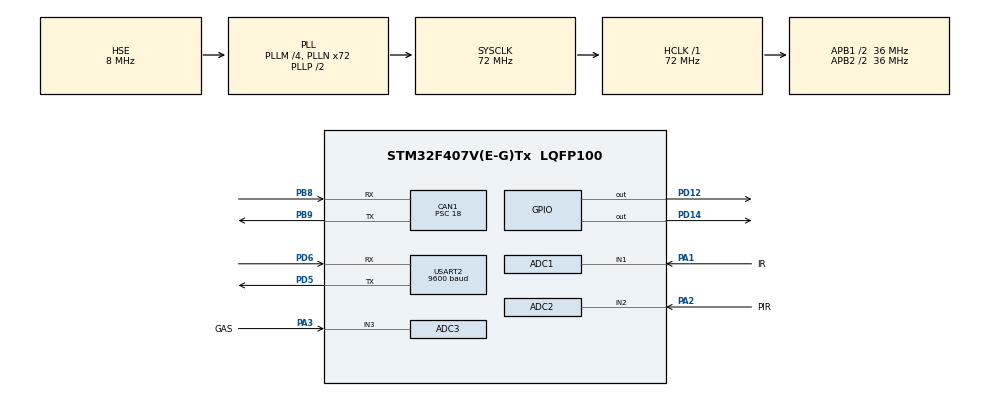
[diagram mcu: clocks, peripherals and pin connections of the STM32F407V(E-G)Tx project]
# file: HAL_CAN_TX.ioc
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ADC1.Channel-0\#ChannelRegularConversion=ADC_CHANNEL_1
ADC1.NbrOfConversionFlag=1
ADC1.Rank-0\#ChannelRegularConversion=1
ADC1.SamplingTime-0\#ChannelRegularConversion=ADC_SAMPLETIME_3CYCLES
ADC1.master=1
ADC2.Channel-0\#ChannelRegularConversion=ADC_CHANNEL_2
ADC2.NbrOfConversionFlag=1
ADC2.Rank-0\#ChannelRegularConversion=1
ADC2.SamplingTime-0\#ChannelRegularConversion=ADC_SAMPLETIME_3CYCLES
ADC3.Channel-0\#ChannelRegularConversion=ADC_CHANNEL_3
ADC3.NbrOfConversionFlag=1
ADC3.Rank-0\#ChannelRegularConversion=1
ADC3.SamplingTime-0\#ChannelRegularConversion=ADC_SAMPLETIME_3CYCLES
CAN1.BS1=CAN_BS1_2TQ
CAN1.CalculateBaudRate=500000
CAN1.CalculateTimeBit=2000
CAN1.CalculateTimeQuantum=500.0
CAN1.Prescaler=18
Mcu.Family=STM32F4
Mcu.Name=STM32F407V(E-G)Tx
Mcu.Package=LQFP100
NVIC.PriorityGroup=NVIC_PRIORITYGROUP_4
PA1.GPIO_Label=IR
PA1.Signal=ADCx_IN1
PA2.GPIO_Label=PIR
PA2.Signal=ADCx_IN2
PA3.GPIO_Label=GAS
PA3.Signal=ADCx_IN3
PB8.Mode=CAN_Activate
PB8.Signal=CAN1_RX
PB9.Mode=CAN_Activate
PB9.Signal=CAN1_TX
PD12.Signal=GPIO_Output
PD14.Signal=GPIO_Output
PD5.Mode=Asynchronous
PD5.Signal=USART2_TX
PD6.Mode=Asynchronous
PD6.Signal=USART2_RX
PH0-OSC_IN.Mode=HSE-External-Oscillator
PH0-OSC_IN.Signal=RCC_OSC_IN
PH1-OSC_OUT.Mode=HSE-External-Oscillator
PH1-OSC_OUT.Signal=RCC_OSC_OUT
ProjectManager.HeapSize=0x200
ProjectManager.StackSize=0x400
ProjectManager.TargetToolchain=STM32CubeIDE
RCC.48MHZClocksFreq_Value=36000000
RCC.AHBFreq_Value=72000000
RCC.APB1CLKDivider=RCC_HCLK_DIV2
RCC.APB1Freq_Value=36000000
RCC.APB1TimFreq_Value=72000000
RCC.APB2CLKDivider=RCC_HCLK_DIV2
RCC.APB2Freq_Value=36000000
RCC.APB2TimFreq_Value=72000000
RCC.CortexFreq_Value=72000000
RCC.HCLKFreq_Value=72000000
RCC.HSE_VALUE=8000000
RCC.HSI_VALUE=16000000
RCC.LSE_VALUE=32768
RCC.PLLM=4
RCC.PLLN=72
RCC.PLLSourceVirtual=RCC_PLLSOURCE_HSE
RCC.SYSCLKFreq_VALUE=72000000
RCC.SYSCLKSource=RCC_SYSCLKSOURCE_PLLCLK
RCC.VCOOutputFreq_Value=144000000
SH.ADCx_IN1.0=ADC1_IN1,IN1
SH.ADCx_IN2.0=ADC2_IN2,IN2
SH.ADCx_IN3.0=ADC3_IN3,IN3
USART2.BaudRate=9600
USART2.VirtualMode=VM_ASYNC
board=custom

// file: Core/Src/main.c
/* USER CODE BEGIN Header */
/**
  ******************************************************************************
  * @file           : main.c
  * @brief          : Main program body
  ******************************************************************************
  * @attention
  *
  * Copyright (c) 2025 STMicroelectronics.
  * All rights reserved.
  *
  * This software is licensed under terms that can be found in the LICENSE file
  * in the root directory of this software component.
  * If no LICENSE file comes with this software, it is provided AS-IS.
  *
  ******************************************************************************
  */
/* USER CODE END Header */
#include "main.h"

/* USER CODE BEGIN Includes */
#include"stdio.h"
#include"string.h"
/* USER CODE END Includes */

ADC_HandleTypeDef hadc1;
ADC_HandleTypeDef hadc2;
ADC_HandleTypeDef hadc3;

CAN_HandleTypeDef hcan1;

UART_HandleTypeDef huart2;

void SystemClock_Config(void);
static void MX_GPIO_Init(void);
static void MX_ADC1_Init(void);
static void MX_CAN1_Init(void);
static void MX_USART2_UART_Init(void);
static void MX_ADC2_Init(void);
static void MX_ADC3_Init(void);
/* USER CODE BEGIN PFP */
uint16_t IR_DATA = 0 ;
uint16_t PIR_DATA = 0 ;
uint16_t GAS_DATA = 0 ;
CAN_TxHeaderTypeDef TxHeader;
uint8_t TxData[8] = {0};
uint32_t TxMailBox;

/* USER CODE END PFP */

int main(void)
{

  /* MCU Configuration--------------------------------------------------------*/

  /* Reset of all peripherals, Initializes the Flash interface and the Systick. */
  HAL_Init();

  /* Configure the system clock */
  SystemClock_Config();

  /* Initialize all configured peripherals */
  MX_GPIO_Init();
  MX_ADC1_Init();
  MX_CAN1_Init();
  MX_USART2_UART_Init();
  MX_ADC2_Init();
  MX_ADC3_Init();
  /* USER CODE BEGIN 2 */
  HAL_CAN_Start(&hcan1);

   	  	TxHeader.DLC = 8;
   		TxHeader.RTR = CAN_RTR_DATA;
   		TxHeader.IDE = CAN_ID_STD;
   		TxHeader.StdId = 0x0A9;
   		TxHeader.ExtId = 0x0000;
   		TxHeader.TransmitGlobalTime = DISABLE;
  /* USER CODE END 2 */

  /* Infinite loop */
  /* USER CODE BEGIN WHILE */
  while (1)
  {
	  char str[100];
	 	  // Read IR sensor (ADC1 Channel 1)
	 		HAL_ADC_Start(&hadc1);
	 		HAL_ADC_PollForConversion(&hadc1, HAL_MAX_DELAY);
	 		IR_DATA = HAL_ADC_GetValue(&hadc1);
	 		HAL_ADC_Stop(&hadc1);

	 		// Read PIR sensor (ADC2 Channel 2)
	 		HAL_ADC_Start(&hadc2);
	 		HAL_ADC_PollForConversion(&hadc2, HAL_MAX_DELAY);
	 		PIR_DATA = HAL_ADC_GetValue(&hadc2);
	 		HAL_ADC_Stop(&hadc2);

	 		// Read GAS sensor (ADC3 Channel 3)
	 		HAL_ADC_Start(&hadc3);
	 		HAL_ADC_PollForConversion(&hadc3, HAL_MAX_DELAY);
	 		GAS_DATA = HAL_ADC_GetValue(&hadc3);
	 		HAL_ADC_Stop(&hadc3);

	 		            TxData[0] = (IR_DATA >> 8) & 0xFF;
	 				    TxData[1] = IR_DATA & 0xFF;

	 				    TxData[2] = (PIR_DATA >> 8) & 0xFF;
	 				    TxData[3] = PIR_DATA & 0xFF;

	 				    TxData[4] = (GAS_DATA >> 8) & 0xFF;
	 				    TxData[5] = GAS_DATA & 0xFF;

	 				   if (HAL_CAN_AddTxMessage(&hcan1, &TxHeader, TxData, &TxMailBox) != HAL_OK)
	 				   		    {
	 				   		      // CAN transmit error, turn on red LED
	 				   		      HAL_GPIO_WritePin(GPIOD, GPIO_PIN_14, GPIO_PIN_SET);
	 				   		    }
	 				   		    else
	 				   		    {
	 				   		      // CAN transmit successful, toggle green LED
	 				   		      HAL_GPIO_TogglePin(GPIOD, GPIO_PIN_12);
	 				   		      HAL_GPIO_WritePin(GPIOD, GPIO_PIN_14, GPIO_PIN_RESET);  // Turn off red LED if previously on
	 				   		    }

	 				  // Print all sensor data via UART
	 				  		    sprintf(str, "IR=%u, PIR=%u,GAS=%u\r\n",IR_DATA,PIR_DATA,GAS_DATA);
	 				  		    HAL_UART_Transmit(&huart2, (uint8_t*)str, strlen(str), HAL_MAX_DELAY);
	 				  		    HAL_Delay(1000);

    /* USER CODE END WHILE */

  }
}

void SystemClock_Config(void)
{
  RCC_OscInitTypeDef RCC_OscInitStruct = {0};
  RCC_ClkInitTypeDef RCC_ClkInitStruct = {0};

  /** Configure the main internal regulator output voltage
  */
  __HAL_RCC_PWR_CLK_ENABLE();
  __HAL_PWR_VOLTAGESCALING_CONFIG(PWR_REGULATOR_VOLTAGE_SCALE1);

  /** Initializes the RCC Oscillators according to the specified parameters
  * in the RCC_OscInitTypeDef structure.
  */
  RCC_OscInitStruct.OscillatorType = RCC_OSCILLATORTYPE_HSE;
  RCC_OscInitStruct.HSEState = RCC_HSE_ON;
  RCC_OscInitStruct.PLL.PLLState = RCC_PLL_ON;
  RCC_OscInitStruct.PLL.PLLSource = RCC_PLLSOURCE_HSE;
  RCC_OscInitStruct.PLL.PLLM = 4;
  RCC_OscInitStruct.PLL.PLLN = 72;
  RCC_OscInitStruct.PLL.PLLP = RCC_PLLP_DIV2;
  RCC_OscInitStruct.PLL.PLLQ = 4;
  if (HAL_RCC_OscConfig(&RCC_OscInitStruct) != HAL_OK)
  {
    Error_Handler();
  }

  /** Initializes the CPU, AHB and APB buses clocks
  */
  RCC_ClkInitStruct.ClockType = RCC_CLOCKTYPE_HCLK|RCC_CLOCKTYPE_SYSCLK
                              |RCC_CLOCKTYPE_PCLK1|RCC_CLOCKTYPE_PCLK2;
  RCC_ClkInitStruct.SYSCLKSource = RCC_SYSCLKSOURCE_PLLCLK;
  RCC_ClkInitStruct.AHBCLKDivider = RCC_SYSCLK_DIV1;
  RCC_ClkInitStruct.APB1CLKDivider = RCC_HCLK_DIV2;
  RCC_ClkInitStruct.APB2CLKDivider = RCC_HCLK_DIV2;

  if (HAL_RCC_ClockConfig(&RCC_ClkInitStruct, FLASH_LATENCY_2) != HAL_OK)
  {
    Error_Handler();
  }
}

static void MX_ADC1_Init(void)
{

  ADC_ChannelConfTypeDef sConfig = {0};

  /** Configure the global features of the ADC (Clock, Resolution, Data Alignment and number of conversion)
  */
  hadc1.Instance = ADC1;
  hadc1.Init.ClockPrescaler = ADC_CLOCK_SYNC_PCLK_DIV2;
  hadc1.Init.Resolution = ADC_RESOLUTION_12B;
  hadc1.Init.ScanConvMode = DISABLE;
  hadc1.Init.ContinuousConvMode = DISABLE;
  hadc1.Init.DiscontinuousConvMode = DISABLE;
  hadc1.Init.ExternalTrigConvEdge = ADC_EXTERNALTRIGCONVEDGE_NONE;
  hadc1.Init.ExternalTrigConv = ADC_SOFTWARE_START;
  hadc1.Init.DataAlign = ADC_DATAALIGN_RIGHT;
  hadc1.Init.NbrOfConversion = 1;
  hadc1.Init.DMAContinuousRequests = DISABLE;
  hadc1.Init.EOCSelection = ADC_EOC_SINGLE_CONV;
  if (HAL_ADC_Init(&hadc1) != HAL_OK)
  {
    Error_Handler();
  }

  /** Configure for the selected ADC regular channel its corresponding rank in the sequencer and its sample time.
  */
  sConfig.Channel = ADC_CHANNEL_1;
  sConfig.Rank = 1;
  sConfig.SamplingTime = ADC_SAMPLETIME_3CYCLES;
  if (HAL_ADC_ConfigChannel(&hadc1, &sConfig) != HAL_OK)
  {
    Error_Handler();
  }

}

static void MX_ADC2_Init(void)
{

  ADC_ChannelConfTypeDef sConfig = {0};

  /** Configure the global features of the ADC (Clock, Resolution, Data Alignment and number of conversion)
  */
  hadc2.Instance = ADC2;
  hadc2.Init.ClockPrescaler = ADC_CLOCK_SYNC_PCLK_DIV2;
  hadc2.Init.Resolution = ADC_RESOLUTION_12B;
  hadc2.Init.ScanConvMode = DISABLE;
  hadc2.Init.ContinuousConvMode = DISABLE;
  hadc2.Init.DiscontinuousConvMode = DISABLE;
  hadc2.Init.ExternalTrigConvEdge = ADC_EXTERNALTRIGCONVEDGE_NONE;
  hadc2.Init.ExternalTrigConv = ADC_SOFTWARE_START;
  hadc2.Init.DataAlign = ADC_DATAALIGN_RIGHT;
  hadc2.Init.NbrOfConversion = 1;
  hadc2.Init.DMAContinuousRequests = DISABLE;
  hadc2.Init.EOCSelection = ADC_EOC_SINGLE_CONV;
  if (HAL_ADC_Init(&hadc2) != HAL_OK)
  {
    Error_Handler();
  }

  /** Configure for the selected ADC regular channel its corresponding rank in the sequencer and its sample time.
  */
  sConfig.Channel = ADC_CHANNEL_2;
  sConfig.Rank = 1;
  sConfig.SamplingTime = ADC_SAMPLETIME_3CYCLES;
  if (HAL_ADC_ConfigChannel(&hadc2, &sConfig) != HAL_OK)
  {
    Error_Handler();
  }

}

static void MX_ADC3_Init(void)
{

  ADC_ChannelConfTypeDef sConfig = {0};

  /** Configure the global features of the ADC (Clock, Resolution, Data Alignment and number of conversion)
  */
  hadc3.Instance = ADC3;
  hadc3.Init.ClockPrescaler = ADC_CLOCK_SYNC_PCLK_DIV2;
  hadc3.Init.Resolution = ADC_RESOLUTION_12B;
  hadc3.Init.ScanConvMode = DISABLE;
  hadc3.Init.ContinuousConvMode = DISABLE;
  hadc3.Init.DiscontinuousConvMode = DISABLE;
  hadc3.Init.ExternalTrigConvEdge = ADC_EXTERNALTRIGCONVEDGE_NONE;
  hadc3.Init.ExternalTrigConv = ADC_SOFTWARE_START;
  hadc3.Init.DataAlign = ADC_DATAALIGN_RIGHT;
  hadc3.Init.NbrOfConversion = 1;
  hadc3.Init.DMAContinuousRequests = DISABLE;
  hadc3.Init.EOCSelection = ADC_EOC_SINGLE_CONV;
  if (HAL_ADC_Init(&hadc3) != HAL_OK)
  {
    Error_Handler();
  }

  /** Configure for the selected ADC regular channel its corresponding rank in the sequencer and its sample time.
  */
  sConfig.Channel = ADC_CHANNEL_3;
  sConfig.Rank = 1;
  sConfig.SamplingTime = ADC_SAMPLETIME_3CYCLES;
  if (HAL_ADC_ConfigChannel(&hadc3, &sConfig) != HAL_OK)
  {
    Error_Handler();
  }

}

static void MX_CAN1_Init(void)
{

  hcan1.Instance = CAN1;
  hcan1.Init.Prescaler = 18;
  hcan1.Init.Mode = CAN_MODE_NORMAL;
  hcan1.Init.SyncJumpWidth = CAN_SJW_1TQ;
  hcan1.Init.TimeSeg1 = CAN_BS1_2TQ;
  hcan1.Init.TimeSeg2 = CAN_BS2_1TQ;
  hcan1.Init.TimeTriggeredMode = DISABLE;
  hcan1.Init.AutoBusOff = DISABLE;
  hcan1.Init.AutoWakeUp = DISABLE;
  hcan1.Init.AutoRetransmission = DISABLE;
  hcan1.Init.ReceiveFifoLocked = DISABLE;
  hcan1.Init.TransmitFifoPriority = DISABLE;
  if (HAL_CAN_Init(&hcan1) != HAL_OK)
  {
    Error_Handler();
  }

}

static void MX_USART2_UART_Init(void)
{

  huart2.Instance = USART2;
  huart2.Init.BaudRate = 9600;
  huart2.Init.WordLength = UART_WORDLENGTH_8B;
  huart2.Init.StopBits = UART_STOPBITS_1;
  huart2.Init.Parity = UART_PARITY_NONE;
  huart2.Init.Mode = UART_MODE_TX_RX;
  huart2.Init.HwFlowCtl = UART_HWCONTROL_NONE;
  huart2.Init.OverSampling = UART_OVERSAMPLING_16;
  if (HAL_UART_Init(&huart2) != HAL_OK)
  {
    Error_Handler();
  }

}

static void MX_GPIO_Init(void)
{
  GPIO_InitTypeDef GPIO_InitStruct = {0};

  /* GPIO Ports Clock Enable */
  __HAL_RCC_GPIOH_CLK_ENABLE();
  __HAL_RCC_GPIOA_CLK_ENABLE();
  __HAL_RCC_GPIOD_CLK_ENABLE();
  __HAL_RCC_GPIOB_CLK_ENABLE();

  /*Configure GPIO pin Output Level */
  HAL_GPIO_WritePin(GPIOD, GPIO_PIN_12|GPIO_PIN_14, GPIO_PIN_RESET);

  /*Configure GPIO pins : PD12 PD14 */
  GPIO_InitStruct.Pin = GPIO_PIN_12|GPIO_PIN_14;
  GPIO_InitStruct.Mode = GPIO_MODE_OUTPUT_PP;
  GPIO_InitStruct.Pull = GPIO_NOPULL;
  GPIO_InitStruct.Speed = GPIO_SPEED_FREQ_LOW;
  HAL_GPIO_Init(GPIOD, &GPIO_InitStruct);

}

void Error_Handler(void)
{
  __disable_irq();
  while (1)
  {
  }
}
